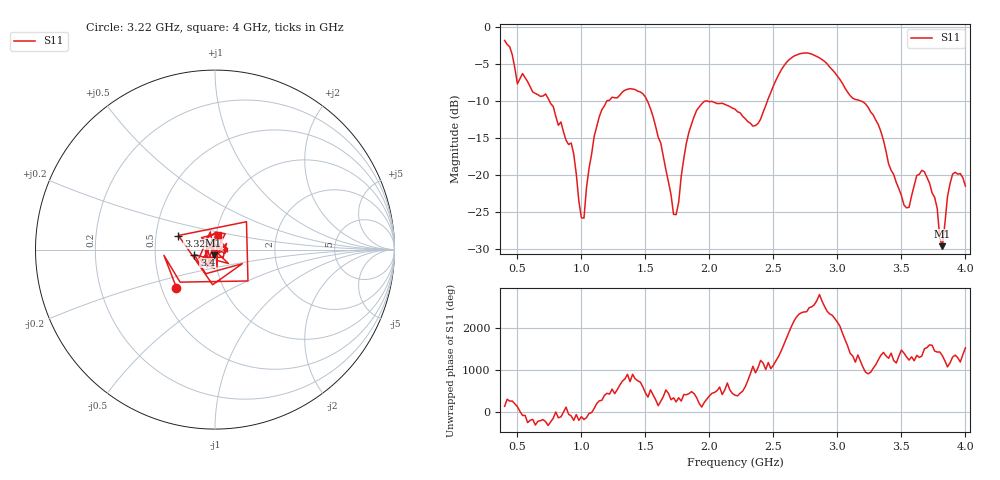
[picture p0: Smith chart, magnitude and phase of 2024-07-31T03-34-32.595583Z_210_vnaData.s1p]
!Created with skrf (http://scikit-rf.org).
# Hz S RI R 50.0
!freq ReS11 ImS11
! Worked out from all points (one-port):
!   181 points, 400 MHz to 4 GHz, reference 50 ohm
!   lowest |S11| = -29.6 dB at 3.82 GHz (marker M1), VSWR 1.07, Z = 49.1 - j3.16 ohm
!   |S11| at or under -10 dB: 749.5 MHz to 1.199 GHz (449.9 MHz wide, 46.2 % of centre); 1.515 GHz to 2.453 GHz (938.9 MHz wide, 47.3 % of centre); 3.178 GHz to end of sweep
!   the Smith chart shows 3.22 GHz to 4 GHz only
!   S11 on the Smith chart (normalised r, x): 3.22 GHz: 0.60, -0.28; 3.32 GHz: 0.65, +0.11; 3.4 GHz: 0.79, -0.05; 4 GHz: 1.02, +0.17
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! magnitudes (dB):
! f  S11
! 400 MHz  -1.9
! 500 MHz  -7.7
! 720 MHz  -9.1
! 860 MHz  -14.2
! 920 MHz  -15.7
! 1.02 GHz  -25.8
! 1.14 GHz  -12.1
! 1.3 GHz  -9.2
! 1.5 GHz  -9.5
! 1.62 GHz  -15.7
! 1.72 GHz  -25.3
! 1.76 GHz  -23.7
! 1.82 GHz  -15.7
! 1.9 GHz  -11.3
! 2.2 GHz  -11.1
! 2.38 GHz  -13.1
! 2.66 GHz  -4.0
! 2.88 GHz  -4.4
! 3.1 GHz  -9.3
! 3.22 GHz  -10.4
! 3.32 GHz  -13.2
! 3.4 GHz  -18.5
! 3.56 GHz  -24.4
! 3.68 GHz  -19.6
! 3.76 GHz  -23.0
! 3.82 GHz  -29.6
! 3.9 GHz  -19.9
! 4 GHz  -21.5
